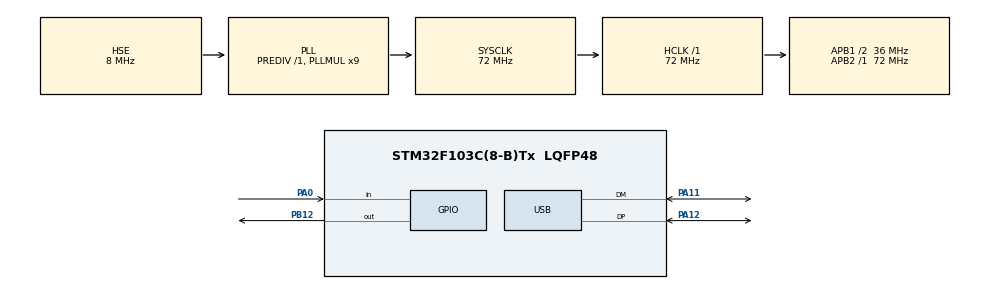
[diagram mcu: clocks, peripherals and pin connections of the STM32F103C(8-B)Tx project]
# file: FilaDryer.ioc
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IWDG.Prescaler=IWDG_PRESCALER_256
IWDG.Reload=1562
Mcu.Family=STM32F1
Mcu.Name=STM32F103C(8-B)Tx
Mcu.Package=LQFP48
NVIC.PriorityGroup=NVIC_PRIORITYGROUP_4
NVIC.USB_LP_CAN1_RX0_IRQn=true\:0\:0\:false\:false\:true\:false\:true\:true
PA0-WKUP.Signal=GPIO_Input
PA11.Mode=Device
PA11.Signal=USB_DM
PA12.Mode=Device
PA12.Signal=USB_DP
PB12.Signal=GPIO_Output
PD0-OSC_IN.Mode=HSE-External-Oscillator
PD0-OSC_IN.Signal=RCC_OSC_IN
PD1-OSC_OUT.Mode=HSE-External-Oscillator
PD1-OSC_OUT.Signal=RCC_OSC_OUT
ProjectManager.HeapSize=0x200
ProjectManager.StackSize=0x400
ProjectManager.TargetToolchain=STM32CubeIDE
RCC.AHBFreq_Value=72000000
RCC.APB1CLKDivider=RCC_HCLK_DIV2
RCC.APB1Freq_Value=36000000
RCC.APB1TimFreq_Value=72000000
RCC.APB2Freq_Value=72000000
RCC.APB2TimFreq_Value=72000000
RCC.HCLKFreq_Value=72000000
RCC.PLLMUL=RCC_PLL_MUL9
RCC.SYSCLKFreq_VALUE=72000000
RCC.SYSCLKSource=RCC_SYSCLKSOURCE_PLLCLK
RCC.USBFreq_Value=48000000
RCC.USBPrescaler=RCC_USBCLKSOURCE_PLL_DIV1_5
USB_DEVICE.CLASS_NAME_FS=CDC
USB_DEVICE.VirtualMode=Cdc
USB_DEVICE.VirtualModeFS=Cdc_FS
VP_IWDG_VS_IWDG.Mode=IWDG_Activate
VP_SYS_VS_ND.Mode=No_Debug
VP_USB_DEVICE_VS_USB_DEVICE_CDC_FS.Mode=CDC_FS
board=custom

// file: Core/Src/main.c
/* USER CODE BEGIN Header */
/**
  ******************************************************************************
  * @file           : main.c
  * @brief          : Main program body
  ******************************************************************************
  * @attention
  *
  * Copyright (c) 2025 STMicroelectronics.
  * All rights reserved.
  *
  * This software is licensed under terms that can be found in the LICENSE file
  * in the root directory of this software component.
  * If no LICENSE file comes with this software, it is provided AS-IS.
  *
  ******************************************************************************
  */
/* USER CODE END Header */
#include "main.h"
#include "usb_device.h"

/* USER CODE BEGIN Includes */
#include "DHT.h"
#include "usbd_cdc_if.h"
/* USER CODE END Includes */

IWDG_HandleTypeDef hiwdg;

/* USER CODE BEGIN PV */
DHT_sensor dht_sensor = {
    .DHT_Port = GPIOA,    // Assuming GPIOB
    .DHT_Pin = GPIO_PIN_0, // Assuming pin 9
    .type = DHT22,         // Change to DHT11 if needed
    .pullUp = GPIO_PULLUP  // Assuming pull-up is required
};
/* USER CODE END PV */

void SystemClock_Config(void);
static void MX_GPIO_Init(void);
static void MX_IWDG_Init(void);

int main(void)
{

  /* MCU Configuration--------------------------------------------------------*/

  /* Reset of all peripherals, Initializes the Flash interface and the Systick. */
  HAL_Init();

  /* Configure the system clock */
  SystemClock_Config();

  /* Initialize all configured peripherals */
  MX_GPIO_Init();
  MX_USB_DEVICE_Init();
  MX_IWDG_Init();

  /* Infinite loop */
  /* USER CODE BEGIN WHILE */
  while (1)
  {
    DHT_data sensor_data = DHT_getData(&dht_sensor);
    // Check if the data is valid
    if (sensor_data.hum != -128.0f && sensor_data.temp != -128.0f) {
        if (sensor_data.hum > 16.0f) {
            HAL_GPIO_WritePin(GPIOB, GPIO_PIN_12, GPIO_PIN_SET); // Set PB12 high
        } else {
            HAL_GPIO_WritePin(GPIOB, GPIO_PIN_12, GPIO_PIN_RESET); // Set PB12 low
        }
        char usb_buffer[64];
        sprintf(usb_buffer, "Temp: %.2f C, Humidity: %.2f%%\r\n", sensor_data.temp, sensor_data.hum);
        CDC_Transmit_FS((uint8_t*)usb_buffer, strlen(usb_buffer));
    } else {
    	HAL_GPIO_WritePin(GPIOB, GPIO_PIN_12, GPIO_PIN_RESET); // Ensure SSR is off if sensor fails
        char usb_buffer[64];
        sprintf(usb_buffer, "Failed to read DHT sensor data\r\n");
        CDC_Transmit_FS((uint8_t*)usb_buffer, strlen(usb_buffer));
    }

    HAL_Delay(2000); // Delay between reads to avoid sensor saturation

    // Refresh the IWDG to prevent a reset
    HAL_IWDG_Refresh(&hiwdg);

    /* USER CODE END WHILE */

  }
}

void SystemClock_Config(void)
{
  RCC_OscInitTypeDef RCC_OscInitStruct = {0};
  RCC_ClkInitTypeDef RCC_ClkInitStruct = {0};
  RCC_PeriphCLKInitTypeDef PeriphClkInit = {0};

  /** Initializes the RCC Oscillators according to the specified parameters
  * in the RCC_OscInitTypeDef structure.
  */
  RCC_OscInitStruct.OscillatorType = RCC_OSCILLATORTYPE_LSI|RCC_OSCILLATORTYPE_HSE;
  RCC_OscInitStruct.HSEState = RCC_HSE_ON;
  RCC_OscInitStruct.HSEPredivValue = RCC_HSE_PREDIV_DIV1;
  RCC_OscInitStruct.HSIState = RCC_HSI_ON;
  RCC_OscInitStruct.LSIState = RCC_LSI_ON;
  RCC_OscInitStruct.PLL.PLLState = RCC_PLL_ON;
  RCC_OscInitStruct.PLL.PLLSource = RCC_PLLSOURCE_HSE;
  RCC_OscInitStruct.PLL.PLLMUL = RCC_PLL_MUL9;
  if (HAL_RCC_OscConfig(&RCC_OscInitStruct) != HAL_OK)
  {
    Error_Handler();
  }

  /** Initializes the CPU, AHB and APB buses clocks
  */
  RCC_ClkInitStruct.ClockType = RCC_CLOCKTYPE_HCLK|RCC_CLOCKTYPE_SYSCLK
                              |RCC_CLOCKTYPE_PCLK1|RCC_CLOCKTYPE_PCLK2;
  RCC_ClkInitStruct.SYSCLKSource = RCC_SYSCLKSOURCE_PLLCLK;
  RCC_ClkInitStruct.AHBCLKDivider = RCC_SYSCLK_DIV1;
  RCC_ClkInitStruct.APB1CLKDivider = RCC_HCLK_DIV2;
  RCC_ClkInitStruct.APB2CLKDivider = RCC_HCLK_DIV1;

  if (HAL_RCC_ClockConfig(&RCC_ClkInitStruct, FLASH_LATENCY_2) != HAL_OK)
  {
    Error_Handler();
  }
  PeriphClkInit.PeriphClockSelection = RCC_PERIPHCLK_USB;
  PeriphClkInit.UsbClockSelection = RCC_USBCLKSOURCE_PLL_DIV1_5;
  if (HAL_RCCEx_PeriphCLKConfig(&PeriphClkInit) != HAL_OK)
  {
    Error_Handler();
  }
}

static void MX_IWDG_Init(void)
{

  hiwdg.Instance = IWDG;
  hiwdg.Init.Prescaler = IWDG_PRESCALER_256;
  hiwdg.Init.Reload = 1562;
  if (HAL_IWDG_Init(&hiwdg) != HAL_OK)
  {
    Error_Handler();
  }

}

static void MX_GPIO_Init(void)
{
  GPIO_InitTypeDef GPIO_InitStruct = {0};

  /* GPIO Ports Clock Enable */
  __HAL_RCC_GPIOD_CLK_ENABLE();
  __HAL_RCC_GPIOA_CLK_ENABLE();
  __HAL_RCC_GPIOB_CLK_ENABLE();

  /*Configure GPIO pin Output Level */
  HAL_GPIO_WritePin(GPIOB, GPIO_PIN_12, GPIO_PIN_RESET);

  /*Configure GPIO pin : PA0 */
  GPIO_InitStruct.Pin = GPIO_PIN_0;
  GPIO_InitStruct.Mode = GPIO_MODE_INPUT;
  GPIO_InitStruct.Pull = GPIO_NOPULL;
  HAL_GPIO_Init(GPIOA, &GPIO_InitStruct);

  /*Configure GPIO pin : PB12 */
  GPIO_InitStruct.Pin = GPIO_PIN_12;
  GPIO_InitStruct.Mode = GPIO_MODE_OUTPUT_PP;
  GPIO_InitStruct.Pull = GPIO_NOPULL;
  GPIO_InitStruct.Speed = GPIO_SPEED_FREQ_LOW;
  HAL_GPIO_Init(GPIOB, &GPIO_InitStruct);

}

void Error_Handler(void)
{
  __disable_irq();
  while (1)
  {
  }
}
